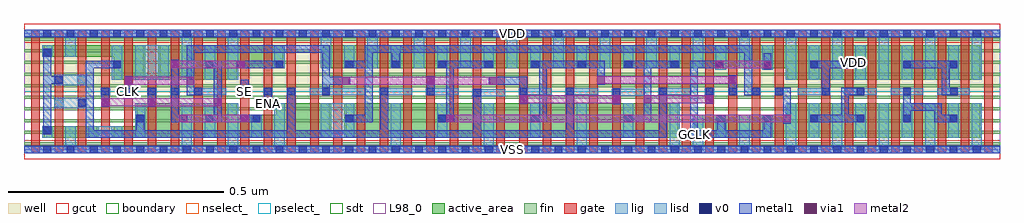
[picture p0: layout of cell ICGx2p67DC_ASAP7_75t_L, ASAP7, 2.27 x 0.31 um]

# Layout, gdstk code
import gdstk
lib = gdstk.Library(unit=1e-6, precision=2.5e-10)
def R(c, l, rs):  # rectangles x0, y0, x1, y1
    for r in rs: c.add(gdstk.rectangle(r[:2], r[2:], *l))
def A(c, l, x, y, w, h, nx, ny, dx, dy):  # array of equal rectangles
    R(c, l, [(x+i*dx, y+j*dy, x+i*dx+w, y+j*dy+h) for i in range(nx) for j in range(ny)])
def P(c, l, *ps):  # polygons
    for p in ps: c.add(gdstk.Polygon(p, *l))
well = (1, 0)
fin = (2, 0)
gate = (7, 0)
gcut = (10, 0)
active_area = (11, 0)
nselect_ = (12, 0)
pselect_ = (13, 0)
lig = (16, 0)
lisd = (17, 0)
v0 = (18, 0)
metal1 = (19, 0)
metal2 = (20, 0)
via1 = (21, 0)
sdt = (88, 0)
L98_0 = (98, 0)
boundary = (100, 0)

icgx2p67dc_asap7_75t_l = lib.new_cell('ICGx2p67DC_ASAP7_75t_L')
R(icgx2p67dc_asap7_75t_l, well, [(0,0.135,2.268,0.27)])
A(icgx2p67dc_asap7_75t_l, fin, 0, 0.01, 2.268, 0.007, 1, 10, 0, 0.027)
A(icgx2p67dc_asap7_75t_l, gate, 0.017, -0.005, 0.02, 0.28, 42, 1, 0.054, 0)
R(icgx2p67dc_asap7_75t_l, gcut, [(0,-0.022,2.268,0.022), (0,0.248,2.268,0.292)])
R(icgx2p67dc_asap7_75t_l, active_area, [(0.046,0.027,0.17,0.054), (0.748,0.027,1.52,0.108)])
P(icgx2p67dc_asap7_75t_l, active_area, [(1.774,0.081),(1.558,0.081),(1.558,0.027),(2.222,0.027),(2.222,0.108),(1.774,0.108)],
  [(0.586,0.081),(0.494,0.081),(0.494,0.108),(0.262,0.108),(0.262,0.054),(0.208,0.054),(0.208,0.027),(0.71,0.027),(0.71,0.108),(0.586,0.108)],
  [(0.602,0.243),(0.316,0.243),(0.316,0.162),(0.494,0.162),(0.494,0.189),(0.602,0.189)],
  [(0.046,0.216),(0.208,0.216),(0.208,0.162),(0.278,0.162),(0.278,0.243),(0.046,0.243)],
  [(0.694,0.189),(1.774,0.189),(1.774,0.162),(2.222,0.162),(2.222,0.243),(0.694,0.243)])
R(icgx2p67dc_asap7_75t_l, nselect_, [(0,0,2.268,0.135)])
R(icgx2p67dc_asap7_75t_l, pselect_, [(0,0.135,2.268,0.27)])
A(icgx2p67dc_asap7_75t_l, lig, 0.178, 0.127, 0.022, 0.016, 4, 1, 0.054, 0)
A(icgx2p67dc_asap7_75t_l, lig, 0.502, 0.127, 0.022, 0.016, 3, 1, 0.054, 0)
A(icgx2p67dc_asap7_75t_l, lig, 1.582, 0.127, 0.022, 0.016, 4, 1, 0.054, 0)
A(icgx2p67dc_asap7_75t_l, lig, 1.798, 0.127, 0.076, 0.016, 4, 1, 0.108, 0)
R(icgx2p67dc_asap7_75t_l, lig, [(0,-0.008,2.268,0.008), (0.07,0.1,0.092,0.116), (1.042,0.124,1.118,0.14), (1.366,0.125,1.442,0.141), (0.394,0.127,0.47,0.143), (0.664,0.127,0.794,0.143), (0.826,0.127,0.902,0.143), (0.934,0.127,1.01,0.143), (1.15,0.127,1.226,0.143), (1.258,0.127,1.334,0.143), (1.474,0.127,1.55,0.143), (0.124,0.154,0.146,0.17), (0,0.262,2.268,0.278)])
A(icgx2p67dc_asap7_75t_l, lisd, 0.366, 0, 0.024, 0.108, 3, 1, 0.108, 0)
A(icgx2p67dc_asap7_75t_l, lisd, 0.852, 0, 0.024, 0.108, 4, 1, 0.216, 0)
A(icgx2p67dc_asap7_75t_l, lisd, 1.77, 0, 0.024, 0.108, 5, 2, 0.108, 0.162)
A(icgx2p67dc_asap7_75t_l, lisd, 0.96, 0.027, 0.024, 0.081, 3, 1, 0.216, 0)
A(icgx2p67dc_asap7_75t_l, lisd, 1.824, 0.027, 0.024, 0.081, 4, 2, 0.108, 0.135)
A(icgx2p67dc_asap7_75t_l, lisd, 0.69, 0.189, 0.024, 0.081, 10, 1, 0.108, 0)
A(icgx2p67dc_asap7_75t_l, lisd, 0.744, 0.189, 0.024, 0.054, 8, 1, 0.108, 0)
R(icgx2p67dc_asap7_75t_l, lisd, [(0.096,0,0.12,0.054), (1.554,0,1.578,0.081), (1.662,0,1.686,0.081), (0.042,0.027,0.066,0.054), (0.15,0.027,0.228,0.054), (0.258,0.027,0.282,0.108), (0.42,0.027,0.444,0.108), (0.528,0.027,0.552,0.081), (0.69,0.027,0.768,0.108), (1.608,0.027,1.632,0.081), (1.716,0.027,1.74,0.081), (0.07,0.096,0.146,0.12), (0.07,0.15,0.146,0.174), (0.204,0.162,0.228,0.243), (0.258,0.162,0.336,0.243), (0.366,0.162,0.39,0.27), (0.42,0.162,0.444,0.243), (0.474,0.162,0.498,0.27), (1.606,0.186,1.632,0.243), (1.716,0.186,1.74,0.243), (0.582,0.189,0.606,0.243), (0.042,0.216,0.066,0.243), (0.096,0.216,0.12,0.27)])
A(icgx2p67dc_asap7_75t_l, v0, 0.045, -0.009, 0.018, 0.018, 41, 2, 0.054, 0.27)
A(icgx2p67dc_asap7_75t_l, v0, 0.531, 0.063, 0.018, 0.018, 3, 1, 0.216, 0)
A(icgx2p67dc_asap7_75t_l, v0, 1.611, 0.063, 0.018, 0.018, 6, 1, 0.108, 0)
A(icgx2p67dc_asap7_75t_l, v0, 0.18, 0.126, 0.018, 0.018, 5, 1, 0.054, 0)
A(icgx2p67dc_asap7_75t_l, v0, 0.504, 0.126, 0.018, 0.018, 3, 1, 0.054, 0)
A(icgx2p67dc_asap7_75t_l, v0, 1.584, 0.126, 0.018, 0.018, 4, 1, 0.054, 0)
A(icgx2p67dc_asap7_75t_l, v0, 0.747, 0.189, 0.018, 0.018, 8, 1, 0.108, 0)
A(icgx2p67dc_asap7_75t_l, v0, 1.827, 0.189, 0.018, 0.018, 4, 1, 0.108, 0)
R(icgx2p67dc_asap7_75t_l, v0, [(0.045,0.036,0.063,0.054), (0.261,0.063,0.279,0.081), (0.422,0.063,0.44,0.081), (1.178,0.063,1.197,0.081), (1.395,0.063,1.413,0.081), (0.126,0.099,0.144,0.117), (1.044,0.123,1.062,0.141), (1.368,0.124,1.386,0.142), (0.693,0.126,0.711,0.144), (0.828,0.126,0.846,0.144), (0.936,0.126,0.954,0.144), (1.152,0.126,1.17,0.144), (1.26,0.126,1.278,0.144), (1.476,0.126,1.494,0.144), (1.854,0.126,1.872,0.144), (1.935,0.126,1.953,0.144), (2.043,0.126,2.061,0.144), (2.152,0.126,2.17,0.144), (0.072,0.153,0.09,0.171), (1.719,0.187,1.737,0.205), (0.207,0.189,0.225,0.207), (0.422,0.189,0.44,0.207), (0.585,0.189,0.603,0.207), (1.608,0.189,1.626,0.207), (0.045,0.216,0.063,0.234)])
R(icgx2p67dc_asap7_75t_l, metal1, [(0,-0.009,2.268,0.009), (0.502,0.063,0.549,0.081), (0.18,0.099,0.198,0.144), (0.288,0.099,0.306,0.144), (0.558,0.099,0.576,0.144), (1.368,0.105,1.386,0.142), (1.584,0.106,1.602,0.144), (0.234,0.126,0.252,0.171), (0.504,0.126,0.522,0.162), (0.936,0.126,0.954,0.171), (1.638,0.126,1.656,0.173), (1.719,0.187,1.737,0.224), (0.493,0.189,0.603,0.207), (0,0.261,2.268,0.279)])
P(icgx2p67dc_asap7_75t_l, metal1, [(1.089,0.207),(0.963,0.207),(0.963,0.189),(0.981,0.189),(0.981,0.081),(0.963,0.081),(0.963,0.063),(1.001,0.063),(1.001,0.081),(0.999,0.081),(0.999,0.189),(1.089,0.189)],
  [(1.953,0.081),(1.917,0.081),(1.917,0.126),(1.953,0.126),(1.953,0.144),(1.899,0.144),(1.899,0.081),(1.827,0.081),(1.827,0.063),(1.953,0.063)],
  [(2.061,0.09),(2.115,0.09),(2.115,0.063),(2.169,0.063),(2.169,0.081),(2.133,0.081),(2.133,0.108),(2.061,0.108),(2.061,0.144),(2.043,0.144),(2.043,0.063),(2.061,0.063)],
  [(1.782,0.144),(1.746,0.144),(1.746,0.126),(1.764,0.126),(1.764,0.06),(1.782,0.06)],
  [(1.17,0.169),(1.08,0.169),(1.08,0.151),(1.152,0.151),(1.152,0.106),(1.17,0.106)],
  [(1.494,0.144),(1.476,0.144),(1.476,0.045),(1.278,0.045),(1.278,0.144),(1.26,0.144),(1.26,0.045),(1.062,0.045),(1.062,0.141),(1.044,0.141),(1.044,0.045),(0.846,0.045),(0.846,0.144),(0.828,0.144),(0.828,0.045),(0.63,0.045),(0.63,0.144),(0.612,0.144),(0.612,0.045),(0.279,0.045),(0.279,0.081),(0.261,0.081),(0.261,0.045),(0.162,0.045),(0.162,0.189),(0.225,0.189),(0.225,0.207),(0.144,0.207),(0.144,0.117),(0.126,0.117),(0.126,0.099),(0.144,0.099),(0.144,0.027),(1.494,0.027)],
  [(1.737,0.081),(1.719,0.081),(1.719,0.045),(1.629,0.045),(1.629,0.081),(1.611,0.081),(1.611,0.045),(1.566,0.045),(1.566,0.189),(1.626,0.189),(1.626,0.207),(1.548,0.207),(1.548,0.027),(1.737,0.027)],
  [(1.872,0.189),(1.953,0.189),(1.953,0.207),(1.827,0.207),(1.827,0.189),(1.854,0.189),(1.854,0.126),(1.872,0.126)],
  [(1.458,0.189),(1.521,0.189),(1.521,0.207),(1.395,0.207),(1.395,0.189),(1.44,0.189),(1.44,0.081),(1.395,0.081),(1.395,0.063),(1.458,0.063)],
  [(0.38,0.081),(0.36,0.081),(0.36,0.209),(0.342,0.209),(0.342,0.063),(0.38,0.063)],
  [(1.215,0.189),(1.332,0.189),(1.332,0.151),(1.35,0.151),(1.35,0.207),(1.179,0.207),(1.179,0.189),(1.197,0.189),(1.197,0.081),(1.178,0.081),(1.178,0.063),(1.215,0.063)],
  [(0.459,0.207),(0.422,0.207),(0.422,0.189),(0.441,0.189),(0.441,0.081),(0.422,0.081),(0.422,0.063),(0.459,0.063)],
  [(2.043,0.189),(2.133,0.189),(2.133,0.126),(2.17,0.126),(2.17,0.144),(2.151,0.144),(2.151,0.189),(2.169,0.189),(2.169,0.207),(2.043,0.207)],
  [(0.81,0.225),(0.855,0.225),(0.855,0.189),(0.873,0.189),(0.873,0.225),(1.674,0.225),(1.674,0.126),(1.71,0.126),(1.71,0.144),(1.692,0.144),(1.692,0.243),(0.792,0.243),(0.792,0.207),(0.747,0.207),(0.747,0.189),(0.792,0.189),(0.792,0.081),(0.747,0.081),(0.747,0.063),(0.81,0.063)],
  [(0.063,0.153),(0.09,0.153),(0.09,0.171),(0.063,0.171),(0.063,0.234),(0.045,0.234),(0.045,0.036),(0.063,0.036)],
  [(0.414,0.144),(0.396,0.144),(0.396,0.225),(0.693,0.225),(0.693,0.126),(0.711,0.126),(0.711,0.151),(0.758,0.151),(0.758,0.169),(0.711,0.169),(0.711,0.243),(0.378,0.243),(0.378,0.126),(0.414,0.126)])
R(icgx2p67dc_asap7_75t_l, metal2, [(0.36,0.063,0.522,0.081), (0.981,0.063,1.782,0.081), (0.18,0.101,0.459,0.119), (1.152,0.108,1.386,0.126), (1.44,0.108,1.602,0.126), (0.234,0.151,0.396,0.169), (0.738,0.151,1.1,0.169), (1.332,0.153,1.656,0.171), (0.342,0.189,0.513,0.207), (1.606,0.189,1.737,0.207)])
R(icgx2p67dc_asap7_75t_l, via1, [(0.36,0.063,0.378,0.081), (0.504,0.063,0.522,0.081), (0.981,0.063,0.999,0.081), (1.764,0.063,1.782,0.081), (0.18,0.101,0.198,0.119), (0.288,0.101,0.306,0.119), (0.441,0.101,0.459,0.119), (1.152,0.108,1.17,0.126), (1.368,0.108,1.386,0.126), (1.44,0.108,1.458,0.126), (1.584,0.108,1.602,0.126), (0.234,0.151,0.252,0.169), (0.378,0.151,0.396,0.169), (0.738,0.151,0.756,0.169), (0.936,0.151,0.954,0.169), (1.082,0.151,1.1,0.169), (1.332,0.153,1.35,0.171), (1.638,0.153,1.656,0.171), (0.342,0.189,0.36,0.207), (0.495,0.189,0.513,0.207), (1.606,0.189,1.624,0.207), (1.719,0.189,1.737,0.207)])
A(icgx2p67dc_asap7_75t_l, sdt, 0.042, 0.027, 0.024, 0.027, 4, 1, 0.054, 0)
A(icgx2p67dc_asap7_75t_l, sdt, 0.366, 0.027, 0.024, 0.081, 3, 1, 0.054, 0)
A(icgx2p67dc_asap7_75t_l, sdt, 0.744, 0.027, 0.024, 0.081, 8, 1, 0.108, 0)
A(icgx2p67dc_asap7_75t_l, sdt, 1.554, 0.027, 0.024, 0.054, 4, 1, 0.054, 0)
A(icgx2p67dc_asap7_75t_l, sdt, 1.77, 0.027, 0.024, 0.081, 9, 2, 0.054, 0.135)
A(icgx2p67dc_asap7_75t_l, sdt, 0.204, 0.162, 0.024, 0.081, 6, 1, 0.054, 0)
A(icgx2p67dc_asap7_75t_l, sdt, 0.69, 0.189, 0.024, 0.054, 20, 1, 0.054, 0)
R(icgx2p67dc_asap7_75t_l, sdt, [(0.258,0.027,0.282,0.108), (0.528,0.027,0.552,0.081), (0.582,0.027,0.606,0.108), (0.69,0.027,0.714,0.108), (0.582,0.189,0.606,0.243), (0.042,0.216,0.066,0.243), (0.096,0.216,0.12,0.243)])
R(icgx2p67dc_asap7_75t_l, L98_0, [(0,0,2.268,0.27)])
R(icgx2p67dc_asap7_75t_l, boundary, [(0,0,2.268,0.27)])
icgx2p67dc_asap7_75t_l.add(gdstk.Label('SE', (0.513,0.135), layer=19, texttype=251))
icgx2p67dc_asap7_75t_l.add(gdstk.Label('GCLK', (1.557,0.036), layer=19, texttype=251))
icgx2p67dc_asap7_75t_l.add(gdstk.Label('ENA', (0.567,0.108), layer=19, texttype=251))
icgx2p67dc_asap7_75t_l.add(gdstk.Label('CLK', (0.243,0.135), layer=19, texttype=251))
icgx2p67dc_asap7_75t_l.add(gdstk.Label('VSS', (1.134,0), layer=19, texttype=251))
icgx2p67dc_asap7_75t_l.add(gdstk.Label('VDD', (1.134,0.27), layer=19, texttype=251))
icgx2p67dc_asap7_75t_l.add(gdstk.Label('VDD', (1.9278,0.2025), layer=1, texttype=251))
icgx2p67dc_asap7_75t_l.add(gdstk.Label('VSS', (2.6082,0.2025), layer=3, texttype=251))

lib.write_gds('ICGx2p67DC_ASAP7_75t_L.gds')
